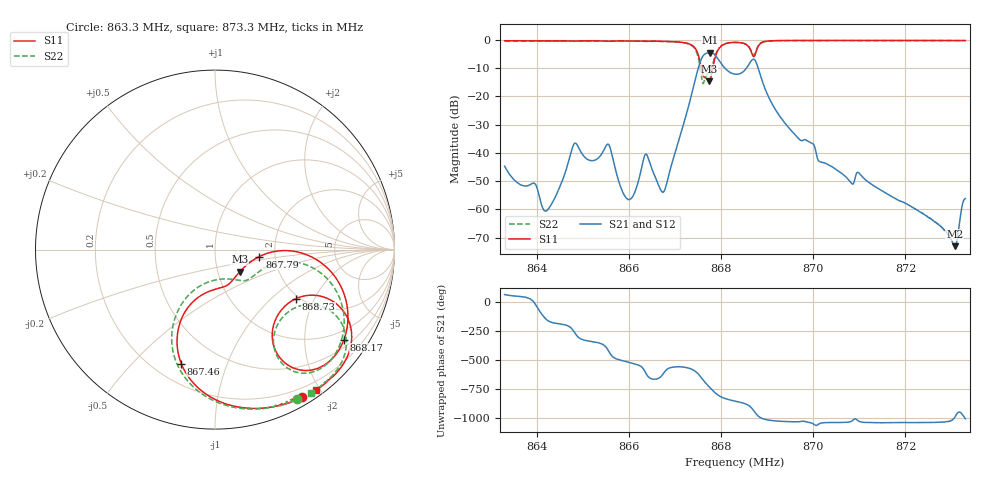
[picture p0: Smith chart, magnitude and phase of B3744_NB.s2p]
! Matrix data file written by TouchstoneData, EPCOS AG
! FILENAME: "B3744_NB.s2p"
! COMMENT: "S-Parameter B3744 narrowband (unmatched)"
! INFO: nport=2, nfreq=1601
! DATE: "Thu Jul 24 09:32:05 2008"
! USER: "Thomas Telgmann"
! port | pin | signal
!  1  |  2  |  in
!  2  |  4  |  out
# MHZ S MA R 50
! freq  magS11 angS11  magS21 angS21  magS12 angS12  magS22 angS22
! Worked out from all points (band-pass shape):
!   1601 points, 863.3 MHz to 873.3 MHz, reference 50 ohm
!   highest |S21| = -4.56 dB at 867.76 MHz (marker M1); lowest = -73.0 dB at 873.07 MHz (marker M2)
!   |S21| within 3 dB of the highest: 867.5524 MHz to 867.9609 MHz (408.4 kHz wide, 0.0471 % of centre); 868.6492 MHz to 868.7452 MHz (95.98 kHz wide, 0.011 % of centre)
!   lowest |S11| = -14.7 dB at 867.74 MHz (marker M3), VSWR 1.45, Z = 63.6 - j16.3 ohm
!   |S11| at or under -10 dB: 867.5687 MHz to 867.8175 MHz (248.8 kHz wide, 0.0287 % of centre)
!   |S22| runs from -15.5 to -0.3 dB; largest |S21 - S12| = 0.0021
!   S11 on the Smith chart (normalised r, x): 863.3 MHz: 0.09, -1.75; 867.46 MHz: 0.31, -0.70; 867.79 MHz: 1.65, -0.14; 868.17 MHz: 0.70, -3.03; 868.73 MHz: 1.92, -1.45; 873.3 MHz: 0.09, -1.95
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863.3  0.9544 -59.4  0.005808 64.0  0.005805 64.3  0.9507 -61.4
864.2  0.9542 -60.5  0.0009369 -148.8  0.0009496 -148.2  0.9509 -62.5
864.8  0.9399 -61.3  0.01408 107.0  0.01408 107.2  0.937 -63.3
864.9688  0.951 -61.3  0.009975 38.3  0.009957 38.6  0.9475 -63.3
865.5562  0.9372 -62.7  0.01404 -63.7  0.01404 -63.6  0.9353 -64.8
865.975  0.9483 -64.4  0.001505 -159.2  0.001512 -159.0  0.9448 -66.4
866.3625  0.935 -66.6  0.009487 107.6  0.009482 107.8  0.9302 -68.6
866.6375  0.9358 -69.0  0.002733 60.1  0.002719 60.4  0.9318 -71.1
866.7937  0.9295 -71.1  0.002446 126.7  0.002448 127.2  0.9255 -73.2
867.4562  0.6621 -106.5  0.2257 115.2  0.2261 115.2  0.6242 -111.7
867.5938  0.2538 -104.1  0.4964 53.5  0.4964 53.6  0.1755 -96.1
867.7375  0.185 -41.9  0.5903 -12.6  0.5897 -12.5  0.2598 -34.4
867.7625  0.1968 -25.5  0.5919 -22.7  0.5909 -22.7  0.2746 -26.4
867.7937  0.2503 -8.9  0.5877 -35.5  0.5865 -35.4  0.3164 -16.2
868.1687  0.8765 -34.9  0.2711 -124.4  0.2706 -124.1  0.8762 -37.7
868.3  0.8923 -42.4  0.2454 -136.9  0.245 -136.6  0.8915 -44.7
868.7312  0.5277 -31.2  0.4363 127.7  0.4355 127.9  0.5582 -34.8
869.2687  0.9619 -43.6  0.04468 49.7  0.04462 50.1  0.9579 -46.2
869.9688  0.9635 -49.1  0.01486 32.7  0.01484 33.0  0.9598 -51.3
871.6375  0.9652 -52.7  0.001815 36.9  0.001818 37.2  0.9612 -54.9
873.0687  0.9642 -54.1  0.0002247 84.9  0.0002321 85.7  0.96 -56.2
873.3  0.963 -54.2  0.00156 70.7  0.001553 71.1  0.959 -56.3
